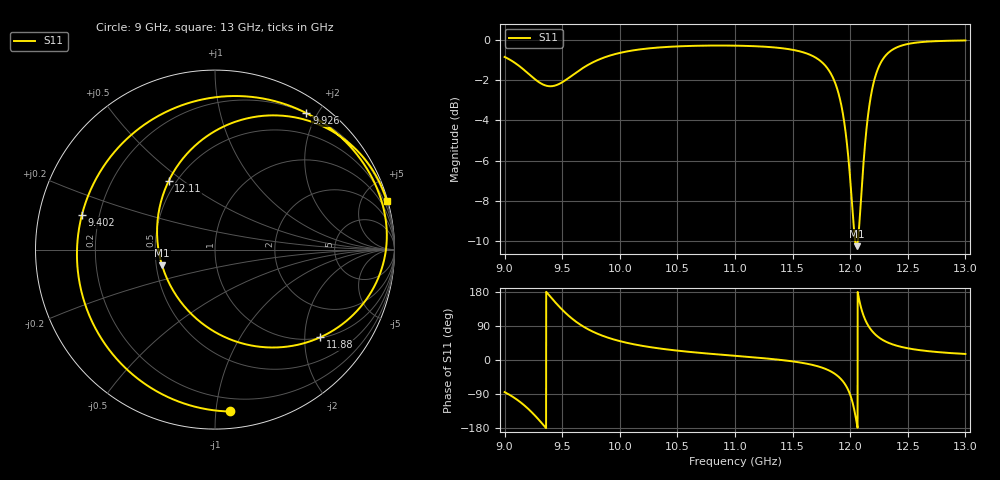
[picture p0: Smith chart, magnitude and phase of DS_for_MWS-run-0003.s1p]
! TOUCHSTONE file generated by CST DESIGN STUDIO
! Date and time: Tue Feb  4 17:58:40 2025
! Project name: C:\Work\MatlabApps\UnitCellOptimizationMatlab\CST\unitcell.cst
! Tree item: Tasks\Sweep1\SPara1\S-Parameters
! Header version: 2024
! Port assignment regex: !\s*Touchstone port\s*([0-9]+)\s*=\s*(CST MWS port|CST DES external port|CST DES block port)\s*(.+)\s* \(\"(.*)\"\)(\s*mode\s*([0-9]+))?.*
! Touchstone port assignment:
! Touchstone port 1 = CST DES external port 1 ("")
# GHz S MA R 50
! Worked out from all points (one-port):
!   4001 points, 9 GHz to 13 GHz, reference 50 ohm
!   lowest |S11| = -10.2 dB at 12.05 GHz (marker M1), VSWR 1.89, Z = 26.9 - j5.2 ohm
!   |S11| at or under -10 dB: 12.04357 GHz to 12.06549 GHz (21.91 MHz wide, 0.182 % of centre)
!   S11 on the Smith chart (normalised r, x): 9 GHz: 0.11, -1.09; 9.402 GHz: 0.13, +0.13; 9.926 GHz: 0.20, +1.86; 11.88 GHz: 1.02, -2.38; 12.11 GHz: 0.46, +0.44; 13 GHz: 0.13, +7.14
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9  0.9059 -84.7
9.104  0.8698 -103.9
9.194  0.8293 -125.8
9.306  0.7817 -160.8
9.402  0.7663 165.4
9.5  0.7839 132.8
9.579  0.8123 110.8
9.667  0.846 91.4
9.792  0.8856 71.2
9.926  0.9151 56.2
10  0.9268 49.8
10.216  0.9488 36.3
10.5  0.962 24.7
11  0.9661 11.1
11.5  0.9435 -3.6
11.742  0.8852 -18.7
11.882  0.763 -39.9
11.951  0.6165 -62.1
12  0.451 -91.8
12.055  0.3077 -163.4
12.081  0.3546 154.8
12.108  0.4618 123.9
12.156  0.6534 91.0
12.212  0.7994 69.1
12.267  0.8783 55.7
12.329  0.9263 45.8
12.5  0.9753 30.9
13  0.9951 15.9
